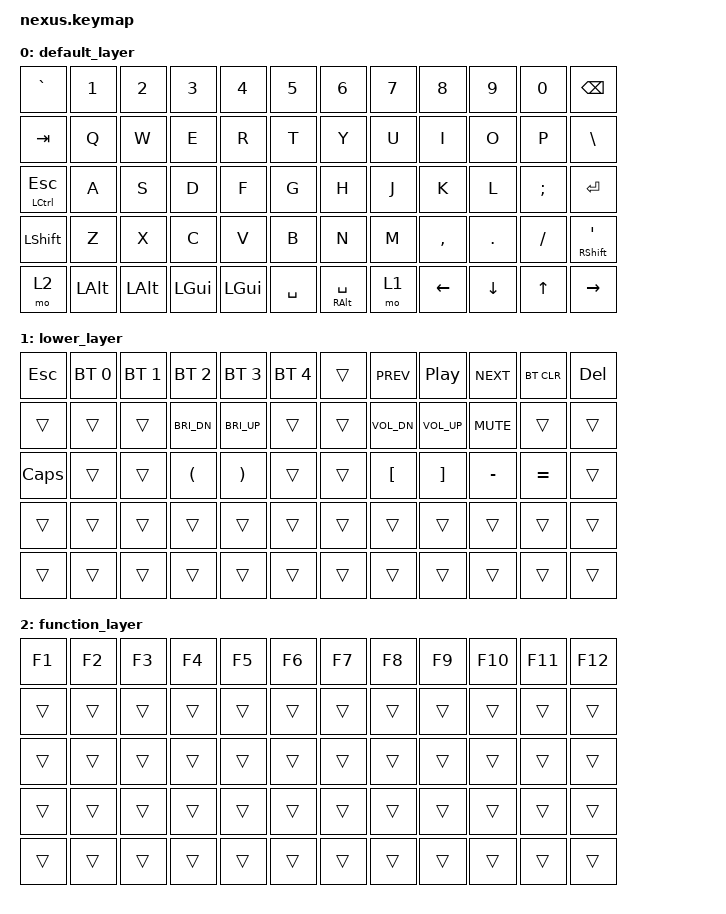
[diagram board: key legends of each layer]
#include <behaviors.dtsi>
#include <dt-bindings/zmk/keys.h>
#include <dt-bindings/zmk/bt.h>

/ {
    keymap {
        compatible = "zmk,keymap";

        default_layer {
            bindings = <
                &kp GRAVE  &kp N1    &kp N2    &kp N3     &kp N4     &kp N5       &kp N6     &kp N7    &kp N8     &kp N9    &kp N0  &kp BSPC
                &kp TAB    &kp Q     &kp W     &kp E      &kp R      &kp T        &kp Y      &kp U     &kp I      &kp O     &kp P   &kp BSLH
                &mt LCTRL ESC &kp A     &kp S     &kp D      &kp F      &kp G        &kp H      &kp J     &kp K      &kp L     &kp SEMI &kp RET
                &kp LSHFT  &kp Z     &kp X     &kp C      &kp V      &kp B        &kp N      &kp M     &kp COMMA  &kp DOT   &kp FSLH &mt RSHFT APOS
                &mo 2  &kp LALT  &kp LALT  &kp LGUI   &kp LGUI   &kp SPACE    &mt RALT SPACE  &mo 1     &kp LEFT   &kp DOWN  &kp UP   &kp RIGHT
            >;
        };

        lower_layer {
            bindings = <
                &kp ESC  &bt BT_SEL 0  &bt BT_SEL 1  &bt BT_SEL 2  &bt BT_SEL 3  &bt BT_SEL 4    &trans  &kp C_PREV &kp C_PP    &kp C_NEXT &bt BT_CLR    &kp DELETE
                &trans  &trans        &trans        &kp C_BRI_DN  &kp C_BRI_UP  &trans           &trans  &kp C_VOL_DN &kp C_VOL_UP &kp C_MUTE &trans     &trans
                &kp CAPS  &trans        &trans        &kp LPAR      &kp RPAR      &trans           &trans  &kp LBKT  &kp RBKT  &kp MINUS  &kp EQUAL  &trans
                &trans  &trans        &trans        &trans        &trans        &trans           &trans  &trans    &trans    &trans     &trans     &trans
                &trans  &trans        &trans        &trans        &trans        &trans           &trans  &trans    &trans    &trans     &trans     &trans
            >;
        };

	function_layer {
	  bindings = < 
                &kp F1  &kp F2        &kp F3        &kp F4        &kp F5        &kp F6           &kp F7  &kp F8    &kp F9    &kp F10    &kp F11    &kp F12
                &trans  &trans        &trans        &trans        &trans        &trans           &trans  &trans    &trans    &trans     &trans     &trans
                &trans  &trans        &trans        &trans        &trans        &trans           &trans  &trans    &trans    &trans     &trans     &trans
                &trans  &trans        &trans        &trans        &trans        &trans           &trans  &trans    &trans    &trans     &trans     &trans
                &trans  &trans        &trans        &trans        &trans        &trans           &trans  &trans    &trans    &trans     &trans     &trans
	  >;

	};
    };
};
